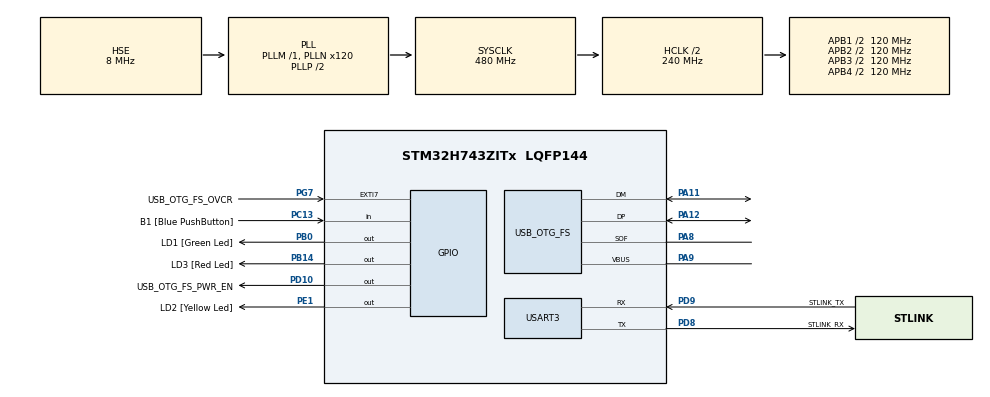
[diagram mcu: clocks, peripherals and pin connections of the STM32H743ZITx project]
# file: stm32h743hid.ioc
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Mcu.Family=STM32H7
Mcu.Name=STM32H743ZITx
Mcu.Package=LQFP144
NVIC.OTG_FS_IRQn=true\:0\:0\:false\:false\:true\:false\:true
NVIC.PriorityGroup=NVIC_PRIORITYGROUP_4
PA1.Signal=ETH_REF_CLK
PA11.Mode=Device_Only
PA11.Signal=USB_OTG_FS_DM
PA12.Mode=Device_Only
PA12.Signal=USB_OTG_FS_DP
PA2.Signal=ETH_MDIO
PA7.Signal=ETH_CRS_DV
PA8.Mode=Activate_SOF_FS
PA8.Signal=USB_OTG_FS_SOF
PA9.Mode=Activate_VBUS
PA9.Signal=USB_OTG_FS_VBUS
PB0.GPIO_Label=LD1 [Green Led]
PB0.Signal=GPIO_Output
PB13.Signal=ETH_TXD1
PB14.GPIO_Label=LD3 [Red Led]
PB14.Signal=GPIO_Output
PC1.Signal=ETH_MDC
PC13.GPIO_Label=B1 [Blue PushButton]
PC13.Signal=GPIO_Input
PC14-OSC32_IN\ (OSC32_IN).Mode=LSE-External-Oscillator
PC14-OSC32_IN\ (OSC32_IN).Signal=RCC_OSC32_IN
PC15-OSC32_OUT\ (OSC32_OUT).Mode=LSE-External-Oscillator
PC15-OSC32_OUT\ (OSC32_OUT).Signal=RCC_OSC32_OUT
PC4.Signal=ETH_RXD0
PC5.Signal=ETH_RXD1
PD10.GPIO_Label=USB_OTG_FS_PWR_EN
PD10.Signal=GPIO_Output
PD8.GPIO_Label=STLINK_RX
PD8.Mode=Asynchronous
PD8.Signal=USART3_TX
PD9.GPIO_Label=STLINK_TX
PD9.Mode=Asynchronous
PD9.Signal=USART3_RX
PE1.GPIO_Label=LD2 [Yellow Led]
PE1.Signal=GPIO_Output
PG11.Signal=ETH_TX_EN
PG13.Signal=ETH_TXD0
PG7.GPIO_Label=USB_OTG_FS_OVCR
PG7.Signal=GPXTI7
PH0-OSC_IN\ (PH0).Mode=HSE-External-Clock-Source
PH0-OSC_IN\ (PH0).Signal=RCC_OSC_IN
PH1-OSC_OUT\ (PH1).Signal=RCC_OSC_OUT
ProjectManager.HeapSize=0x200
ProjectManager.StackSize=0x400
ProjectManager.TargetToolchain=SW4STM32
RCC.ADCFreq_Value=16125000
RCC.APB1Freq_Value=120000000
RCC.APB2Freq_Value=120000000
RCC.APB3Freq_Value=120000000
RCC.APB4Freq_Value=120000000
RCC.CortexFreq_Value=480000000
RCC.D1PPRE=RCC_APB3_DIV2
RCC.D2PPRE1=RCC_APB1_DIV2
RCC.D2PPRE2=RCC_APB2_DIV2
RCC.D3PPRE=RCC_APB4_DIV2
RCC.DIVM1=1
RCC.DIVN1=120
RCC.DIVQ1=20
RCC.HCLKFreq_Value=240000000
RCC.HPRE=RCC_HCLK_DIV2
RCC.HSE_VALUE=8000000
RCC.PLLFRACN=0
RCC.SYSCLKFreq_VALUE=480000000
RCC.SYSCLKSource=RCC_SYSCLKSOURCE_PLLCLK
RCC.USBFreq_Value=48000000
USART3.VirtualMode-Asynchronous=VM_ASYNC
USB_DEVICE.CLASS_NAME_FS=HID
USB_DEVICE.MANUFACTURER_STRING-HID_FS=Mad Style Productions
USB_DEVICE.PRODUCT_STRING_HID_FS=Evan's Human Interface Nugget
USB_DEVICE.VirtualMode-HID_FS=Hid
USB_DEVICE.VirtualModeFS=Hid_FS
USB_OTG_FS.VirtualMode=Device_Only
VP_USB_DEVICE_VS_USB_DEVICE_HID_FS.Mode=HID_FS
board=NUCLEO-H743ZI2

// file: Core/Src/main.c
/* USER CODE BEGIN Header */
/**
  ******************************************************************************
  * @file           : main.c
  * @brief          : Main program body
  ******************************************************************************
  * @attention
  *
  * <h2><center>&copy; Copyright (c) 2020 STMicroelectronics.
  * All rights reserved.</center></h2>
  *
  * This software component is licensed by ST under Ultimate Liberty license
  * SLA0044, the "License"; You may not use this file except in compliance with
  * the License. You may obtain a copy of the License at:
  *                             www.st.com/SLA0044
  *
  ******************************************************************************
  */
/* USER CODE END Header */
#include "main.h"
#include "usb_device.h"

UART_HandleTypeDef huart3;
extern USBD_HandleTypeDef hUsbDeviceFS;

void SystemClock_Config(void);
static void MX_GPIO_Init(void);
static void MX_USART3_UART_Init(void);

/* USER CODE BEGIN 0 */

// Override _write() in syscalls.c, which is weakly linked.
// By doing so, we redirect stdout to USART3.
// On Nucleo-H743ZI2 boards, this is connected to the ST Link virtual COM port.
//
// "fd" is ignored by the function we're replacing, so we do too.
int _write(int fd, uint8_t* source, int length)
{
	static uint8_t expandBuff[256]; // TODO: grow size if needed.
	uint8_t* s = source;
	uint8_t* d = expandBuff;

	// convert \n to \r\n as needed, don't overrun expandBuff
	while(length && ((d - expandBuff) < sizeof(expandBuff)-1) ) {
		if (*s == '\n')
			*d++ = '\r';
		*d++ = *s++;
		length--;
	}
	*d = '\0';

	HAL_UART_Transmit(&huart3, expandBuff, (d - expandBuff), 100);
	return length;
}

/* USER CODE END 0 */

int main(void)
{
  /* USER CODE BEGIN 1 */
  // HID Mouse
  struct mouseHID_t {
	    uint8_t buttons;
	      int8_t x;
	      int8_t y;
	      int8_t wheel;
  };
  struct mouseHID_t mouseHID;
  mouseHID.buttons = 0;
  mouseHID.x = 1;
  mouseHID.y = 0;
  mouseHID.wheel = 0;
  /* USER CODE END 1 */

  /* MCU Configuration--------------------------------------------------------*/

  /* Reset of all peripherals, Initializes the Flash interface and the Systick. */
  HAL_Init();

  /* Configure the system clock */
  SystemClock_Config();

  /* Initialize all configured peripherals */
  MX_GPIO_Init();
  MX_USART3_UART_Init();
  MX_USB_DEVICE_Init();
  /* USER CODE BEGIN 2 */

  puts("USB HID Evan's Human Interface Nugget, version 0.1");

  /* USER CODE END 2 */

  /* Infinite loop */
  while (1)
  {

    /* USER CODE BEGIN 3 */
	USBD_HID_SendReport(&hUsbDeviceFS, &mouseHID, sizeof(struct mouseHID_t));
	HAL_Delay(1);
  }
  /* USER CODE END 3 */
}

void SystemClock_Config(void)
{
  RCC_OscInitTypeDef RCC_OscInitStruct = {0};
  RCC_ClkInitTypeDef RCC_ClkInitStruct = {0};
  RCC_PeriphCLKInitTypeDef PeriphClkInitStruct = {0};

  /** Supply configuration update enable
  */
  HAL_PWREx_ConfigSupply(PWR_LDO_SUPPLY);
  /** Configure the main internal regulator output voltage
  */
  __HAL_PWR_VOLTAGESCALING_CONFIG(PWR_REGULATOR_VOLTAGE_SCALE0);

  while(!__HAL_PWR_GET_FLAG(PWR_FLAG_VOSRDY)) {}
  /** Initializes the RCC Oscillators according to the specified parameters
  * in the RCC_OscInitTypeDef structure.
  */
  RCC_OscInitStruct.OscillatorType = RCC_OSCILLATORTYPE_HSE;
  RCC_OscInitStruct.HSEState = RCC_HSE_BYPASS;
  RCC_OscInitStruct.PLL.PLLState = RCC_PLL_ON;
  RCC_OscInitStruct.PLL.PLLSource = RCC_PLLSOURCE_HSE;
  RCC_OscInitStruct.PLL.PLLM = 1;
  RCC_OscInitStruct.PLL.PLLN = 120;
  RCC_OscInitStruct.PLL.PLLP = 2;
  RCC_OscInitStruct.PLL.PLLQ = 20;
  RCC_OscInitStruct.PLL.PLLR = 2;
  RCC_OscInitStruct.PLL.PLLRGE = RCC_PLL1VCIRANGE_3;
  RCC_OscInitStruct.PLL.PLLVCOSEL = RCC_PLL1VCOWIDE;
  RCC_OscInitStruct.PLL.PLLFRACN = 0;
  if (HAL_RCC_OscConfig(&RCC_OscInitStruct) != HAL_OK)
  {
    Error_Handler();
  }
  /** Initializes the CPU, AHB and APB buses clocks
  */
  RCC_ClkInitStruct.ClockType = RCC_CLOCKTYPE_HCLK|RCC_CLOCKTYPE_SYSCLK
                              |RCC_CLOCKTYPE_PCLK1|RCC_CLOCKTYPE_PCLK2
                              |RCC_CLOCKTYPE_D3PCLK1|RCC_CLOCKTYPE_D1PCLK1;
  RCC_ClkInitStruct.SYSCLKSource = RCC_SYSCLKSOURCE_PLLCLK;
  RCC_ClkInitStruct.SYSCLKDivider = RCC_SYSCLK_DIV1;
  RCC_ClkInitStruct.AHBCLKDivider = RCC_HCLK_DIV2;
  RCC_ClkInitStruct.APB3CLKDivider = RCC_APB3_DIV2;
  RCC_ClkInitStruct.APB1CLKDivider = RCC_APB1_DIV2;
  RCC_ClkInitStruct.APB2CLKDivider = RCC_APB2_DIV2;
  RCC_ClkInitStruct.APB4CLKDivider = RCC_APB4_DIV2;

  if (HAL_RCC_ClockConfig(&RCC_ClkInitStruct, FLASH_LATENCY_4) != HAL_OK)
  {
    Error_Handler();
  }
  PeriphClkInitStruct.PeriphClockSelection = RCC_PERIPHCLK_USART3|RCC_PERIPHCLK_USB;
  PeriphClkInitStruct.Usart234578ClockSelection = RCC_USART234578CLKSOURCE_D2PCLK1;
  PeriphClkInitStruct.UsbClockSelection = RCC_USBCLKSOURCE_PLL;
  if (HAL_RCCEx_PeriphCLKConfig(&PeriphClkInitStruct) != HAL_OK)
  {
    Error_Handler();
  }
  /** Enable USB Voltage detector
  */
  HAL_PWREx_EnableUSBVoltageDetector();
}

static void MX_USART3_UART_Init(void)
{

  huart3.Instance = USART3;
  huart3.Init.BaudRate = 115200;
  huart3.Init.WordLength = UART_WORDLENGTH_8B;
  huart3.Init.StopBits = UART_STOPBITS_1;
  huart3.Init.Parity = UART_PARITY_NONE;
  huart3.Init.Mode = UART_MODE_TX_RX;
  huart3.Init.HwFlowCtl = UART_HWCONTROL_NONE;
  huart3.Init.OverSampling = UART_OVERSAMPLING_16;
  huart3.Init.OneBitSampling = UART_ONE_BIT_SAMPLE_DISABLE;
  huart3.Init.ClockPrescaler = UART_PRESCALER_DIV1;
  huart3.AdvancedInit.AdvFeatureInit = UART_ADVFEATURE_NO_INIT;
  if (HAL_UART_Init(&huart3) != HAL_OK)
  {
    Error_Handler();
  }
  if (HAL_UARTEx_SetTxFifoThreshold(&huart3, UART_TXFIFO_THRESHOLD_1_8) != HAL_OK)
  {
    Error_Handler();
  }
  if (HAL_UARTEx_SetRxFifoThreshold(&huart3, UART_RXFIFO_THRESHOLD_1_8) != HAL_OK)
  {
    Error_Handler();
  }
  if (HAL_UARTEx_DisableFifoMode(&huart3) != HAL_OK)
  {
    Error_Handler();
  }

}

static void MX_GPIO_Init(void)
{
  GPIO_InitTypeDef GPIO_InitStruct = {0};

  /* GPIO Ports Clock Enable */
  __HAL_RCC_GPIOC_CLK_ENABLE();
  __HAL_RCC_GPIOH_CLK_ENABLE();
  __HAL_RCC_GPIOA_CLK_ENABLE();
  __HAL_RCC_GPIOB_CLK_ENABLE();
  __HAL_RCC_GPIOD_CLK_ENABLE();
  __HAL_RCC_GPIOG_CLK_ENABLE();
  __HAL_RCC_GPIOE_CLK_ENABLE();

  /*Configure GPIO pin Output Level */
  HAL_GPIO_WritePin(GPIOB, LD1_Pin|LD3_Pin, GPIO_PIN_RESET);

  /*Configure GPIO pin Output Level */
  HAL_GPIO_WritePin(USB_OTG_FS_PWR_EN_GPIO_Port, USB_OTG_FS_PWR_EN_Pin, GPIO_PIN_RESET);

  /*Configure GPIO pin Output Level */
  HAL_GPIO_WritePin(LD2_GPIO_Port, LD2_Pin, GPIO_PIN_RESET);

  /*Configure GPIO pin : B1_Pin */
  GPIO_InitStruct.Pin = B1_Pin;
  GPIO_InitStruct.Mode = GPIO_MODE_INPUT;
  GPIO_InitStruct.Pull = GPIO_NOPULL;
  HAL_GPIO_Init(B1_GPIO_Port, &GPIO_InitStruct);

  /*Configure GPIO pins : PC1 PC4 PC5 */
  GPIO_InitStruct.Pin = GPIO_PIN_1|GPIO_PIN_4|GPIO_PIN_5;
  GPIO_InitStruct.Mode = GPIO_MODE_AF_PP;
  GPIO_InitStruct.Pull = GPIO_NOPULL;
  GPIO_InitStruct.Speed = GPIO_SPEED_FREQ_LOW;
  GPIO_InitStruct.Alternate = GPIO_AF11_ETH;
  HAL_GPIO_Init(GPIOC, &GPIO_InitStruct);

  /*Configure GPIO pins : PA1 PA2 PA7 */
  GPIO_InitStruct.Pin = GPIO_PIN_1|GPIO_PIN_2|GPIO_PIN_7;
  GPIO_InitStruct.Mode = GPIO_MODE_AF_PP;
  GPIO_InitStruct.Pull = GPIO_NOPULL;
  GPIO_InitStruct.Speed = GPIO_SPEED_FREQ_LOW;
  GPIO_InitStruct.Alternate = GPIO_AF11_ETH;
  HAL_GPIO_Init(GPIOA, &GPIO_InitStruct);

  /*Configure GPIO pins : LD1_Pin LD3_Pin */
  GPIO_InitStruct.Pin = LD1_Pin|LD3_Pin;
  GPIO_InitStruct.Mode = GPIO_MODE_OUTPUT_PP;
  GPIO_InitStruct.Pull = GPIO_NOPULL;
  GPIO_InitStruct.Speed = GPIO_SPEED_FREQ_LOW;
  HAL_GPIO_Init(GPIOB, &GPIO_InitStruct);

  /*Configure GPIO pin : PB13 */
  GPIO_InitStruct.Pin = GPIO_PIN_13;
  GPIO_InitStruct.Mode = GPIO_MODE_AF_PP;
  GPIO_InitStruct.Pull = GPIO_NOPULL;
  GPIO_InitStruct.Speed = GPIO_SPEED_FREQ_LOW;
  GPIO_InitStruct.Alternate = GPIO_AF11_ETH;
  HAL_GPIO_Init(GPIOB, &GPIO_InitStruct);

  /*Configure GPIO pin : USB_OTG_FS_PWR_EN_Pin */
  GPIO_InitStruct.Pin = USB_OTG_FS_PWR_EN_Pin;
  GPIO_InitStruct.Mode = GPIO_MODE_OUTPUT_PP;
  GPIO_InitStruct.Pull = GPIO_NOPULL;
  GPIO_InitStruct.Speed = GPIO_SPEED_FREQ_LOW;
  HAL_GPIO_Init(USB_OTG_FS_PWR_EN_GPIO_Port, &GPIO_InitStruct);

  /*Configure GPIO pin : USB_OTG_FS_OVCR_Pin */
  GPIO_InitStruct.Pin = USB_OTG_FS_OVCR_Pin;
  GPIO_InitStruct.Mode = GPIO_MODE_IT_RISING;
  GPIO_InitStruct.Pull = GPIO_NOPULL;
  HAL_GPIO_Init(USB_OTG_FS_OVCR_GPIO_Port, &GPIO_InitStruct);

  /*Configure GPIO pins : PG11 PG13 */
  GPIO_InitStruct.Pin = GPIO_PIN_11|GPIO_PIN_13;
  GPIO_InitStruct.Mode = GPIO_MODE_AF_PP;
  GPIO_InitStruct.Pull = GPIO_NOPULL;
  GPIO_InitStruct.Speed = GPIO_SPEED_FREQ_LOW;
  GPIO_InitStruct.Alternate = GPIO_AF11_ETH;
  HAL_GPIO_Init(GPIOG, &GPIO_InitStruct);

  /*Configure GPIO pin : LD2_Pin */
  GPIO_InitStruct.Pin = LD2_Pin;
  GPIO_InitStruct.Mode = GPIO_MODE_OUTPUT_PP;
  GPIO_InitStruct.Pull = GPIO_NOPULL;
  GPIO_InitStruct.Speed = GPIO_SPEED_FREQ_LOW;
  HAL_GPIO_Init(LD2_GPIO_Port, &GPIO_InitStruct);

}

void Error_Handler(void)
{
}

/************************ (C) COPYRIGHT STMicroelectronics *****END OF FILE****/
